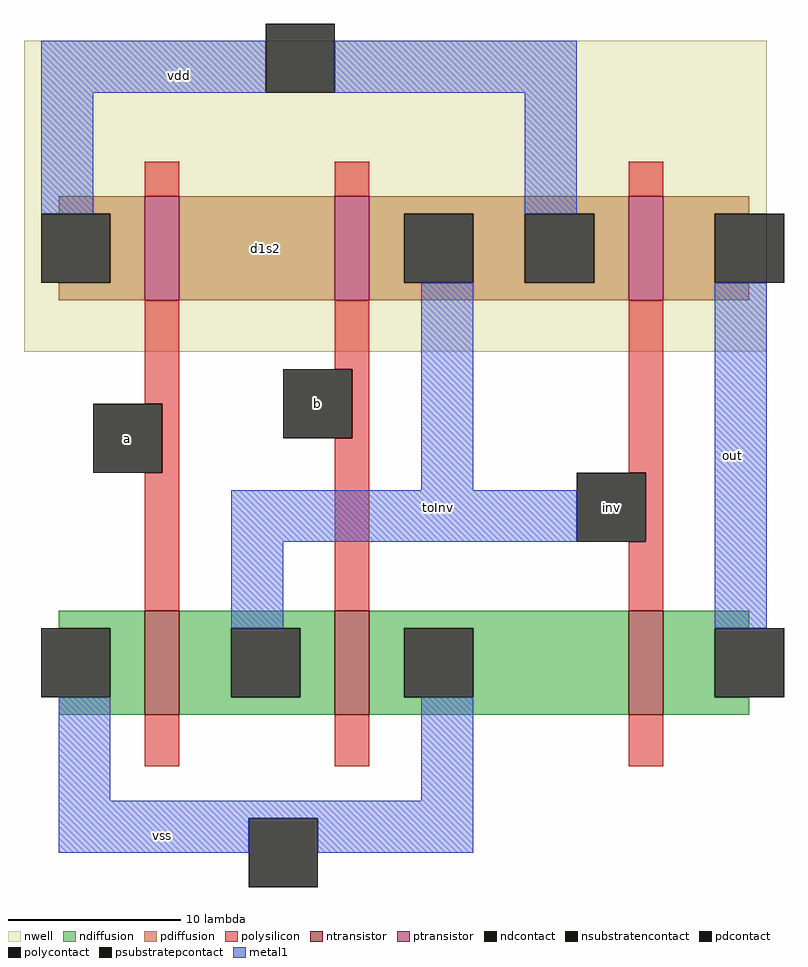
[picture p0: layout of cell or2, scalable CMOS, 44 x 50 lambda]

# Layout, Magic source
magic
tech scmos
<< nwell >>
rect 0 31 43 49
<< polysilicon >>
rect 7 40 9 42
rect 18 40 20 42
rect 35 40 37 42
rect 7 28 9 34
rect 18 30 20 34
rect 8 24 9 28
rect 19 26 20 30
rect 7 16 9 24
rect 18 16 20 26
rect 35 24 37 34
rect 36 20 37 24
rect 35 16 37 20
rect 7 7 9 10
rect 18 7 20 10
rect 35 7 37 10
<< ndiffusion >>
rect 2 15 7 16
rect 5 11 7 15
rect 2 10 7 11
rect 9 15 18 16
rect 9 11 12 15
rect 16 11 18 15
rect 9 10 18 11
rect 20 15 35 16
rect 20 11 22 15
rect 26 11 35 15
rect 20 10 35 11
rect 37 15 42 16
rect 37 11 40 15
rect 37 10 42 11
<< pdiffusion >>
rect 2 39 7 40
rect 5 35 7 39
rect 2 34 7 35
rect 9 34 18 40
rect 20 39 35 40
rect 20 35 22 39
rect 26 35 29 39
rect 33 35 35 39
rect 20 34 35 35
rect 37 39 42 40
rect 37 35 40 39
rect 37 34 42 35
<< metal1 >>
rect 1 46 14 49
rect 18 46 32 49
rect 1 39 4 46
rect 29 39 32 46
rect 23 23 26 35
rect 12 20 32 23
rect 12 15 15 20
rect 40 15 43 35
rect 2 5 5 11
rect 23 5 26 11
rect 2 4 26 5
rect 2 2 13 4
rect 17 2 26 4
<< ntransistor >>
rect 7 10 9 16
rect 18 10 20 16
rect 35 10 37 16
<< ptransistor >>
rect 7 34 9 40
rect 18 34 20 40
rect 35 34 37 40
<< polycontact >>
rect 4 24 8 28
rect 15 26 19 30
rect 32 20 36 24
<< ndcontact >>
rect 1 11 5 15
rect 12 11 16 15
rect 22 11 26 15
rect 40 11 44 15
<< pdcontact >>
rect 1 35 5 39
rect 22 35 26 39
rect 29 35 33 39
rect 40 35 44 39
<< psubstratepcontact >>
rect 13 0 17 4
<< nsubstratencontact >>
rect 14 46 18 50
<< labels >>
rlabel metal1 9 47 9 47 1 vdd
rlabel metal1 8 3 8 3 1 vss
rlabel polycontact 6 26 6 26 1 a
rlabel polycontact 17 28 17 28 1 b
rlabel pdiffusion 14 37 14 37 1 d1s2
rlabel metal1 41 25 41 25 3 out
rlabel metal1 24 22 24 22 5 toInv
rlabel polycontact 34 22 34 22 1 inv
<< end >>
